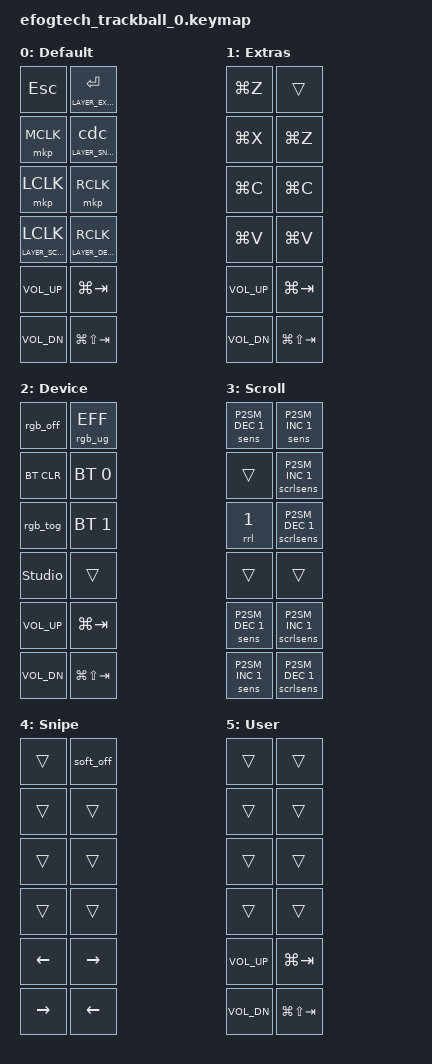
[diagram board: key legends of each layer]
#include <behaviors.dtsi>
#include <dt-bindings/zmk/bt.h>
#include <dt-bindings/zmk/keys.h>
#include <dt-bindings/zmk/pointing.h>
#include <dt-bindings/zmk/outputs.h>
#include <dt-bindings/zmk/p2sm.h>
#include <dt-bindings/zmk/rgb.h>
#include <dt-bindings/zmk/ext_power.h>

#define LAYER_DEFAULT      0
#define LAYER_EXTRAS       1
#define LAYER_DEVICE       2
#define LAYER_SCROLL       3
#define LAYER_SNIPE        4
#define LAYER_USER         5

#define TWIST_MULTIPLIER   (-1)
#define TWIST_DIVISOR      8

#define SCROLL_MULTIPLIER  1
#define SCROLL_DIVISOR     10

#define SNIPE_MULTIPLIER   1
#define SNIPE_DIVISOR      4

/ {
    keymap {
        compatible = "zmk,keymap";

        default_layer {
            display-name = "Default";
            DECLARE_ENCODERS;
            bindings = <
              // buttons
              &kp  ESC                  &ltmkp LAYER_EXTRAS ENTER
              &mkp MCLK                 &cdch LAYER_SNIPE 0
              &mkp LCLK                 &mkp RCLK
              &ltm LAYER_SCROLL LCLK    &ltm LAYER_DEVICE RCLK
              // rotary encoders
              &kp C_VOL_UP              &kp LG(TAB)
              &kp C_VOL_DN              &kp LG(LS(TAB))
            >;
        };

        layer2 {
            display-name = "Extras";
            DECLARE_ENCODERS;
            bindings = <
              &kp LG(Z)     &trans
              &kp LG(X)     &kp LG(Z)
              &kp LG(C)     &kp LG(C)
              &kp LG(V)     &kp LG(V)

              &kp C_VOL_UP  &kp LG(TAB)
              &kp C_VOL_DN  &kp LG(LS(TAB))
            >;
        };

        layer3 {
            display-name = "Device";
            DECLARE_ENCODERS;
            bindings = <
              &rgb_off        &rgb_ug RGB_EFF
              &bt BT_CLR      &bt BT_SEL 0
              &rgb_tog        &bt BT_SEL 1
              &studio_unlock  &trans

              &kp C_VOL_UP    &kp LG(TAB)
              &kp C_VOL_DN    &kp LG(LS(TAB))
            >;
        };

        layer4 {
            display-name = "Scroll";
            DECLARE_ENCODERS;
            bindings = <
              &sens P2SM_DEC 1  &sens P2SM_INC 1
              &trans            &scrlsens P2SM_INC 1
              &rrl 1            &scrlsens P2SM_DEC 1
              &trans            &trans

              &sens P2SM_DEC 1  &scrlsens P2SM_INC 1
              &sens P2SM_INC 1  &scrlsens P2SM_DEC 1
            >;
        };

        layer5 {
            display-name = "Snipe";
            DECLARE_ENCODERS;
            bindings = <
              &trans     &soft_off
              &trans     &trans
              &trans     &trans
              &trans     &trans

              &kp LEFT   &kp RIGHT
              &kp RIGHT  &kp LEFT
            >;
        };

        layer6 {
            display-name = "User";
            DECLARE_ENCODERS;
            bindings = <
              &trans        &trans
              &trans        &trans
              &trans        &trans
              &trans        &trans

              &kp C_VOL_UP  &kp LG(TAB)
              &kp C_VOL_DN  &kp LG(LS(TAB))
            >;
        };
    };

    behaviors {
        cdch: click-double-click-hold {
            compatible = "zmk,behavior-hold-tap";
            display-name = "Copy/paste/layer (click/double-click/hold)";
            #binding-cells = <2>;
            flavor = "tap-preferred";
            tapping-term-ms = <325>;
            bindings = <&mo>, <&cdc>;
        };

        cdc: click-double-click {
            compatible = "zmk,behavior-tap-dance";
            display-name = "Copy/paste (click/double-click)";
            #binding-cells = <0>;
            tapping-term-ms = <300>;
            bindings = <&kp LG(C)>, <&kp LG(V)>;
        };
    };

    trackball {
        input-processors = <&zip_scroll_scaler TWIST_MULTIPLIER TWIST_DIVISOR>,
                           <&zip_pointer_accel>, <&zip_scroll_accel>,
                           <&zip_rotate_pointer>, <&zip_rotate_scroll>,
                           <&zip_ble_report_rate_limit>;

        scroll {
            layers = <LAYER_SCROLL>;
            input-processors = <&zip_xy_scaler SCROLL_MULTIPLIER SCROLL_DIVISOR>, <&zip_axis_clamper>,
                               <&zip_xy_to_scroll_mapper>, <&zip_scroll_transform INPUT_TRANSFORM_Y_INVERT>,
                               <&zip_rotate_scroll>, <&zip_scroll_accel>, <&zip_ble_report_rate_limit>;
        };

        snipe {
            layers = <LAYER_SNIPE>;
            input-processors = <&zip_xy_scaler SNIPE_MULTIPLIER SNIPE_DIVISOR>,
                               <&zip_rotate_pointer>, <&zip_rotate_scroll>, <&zip_ble_report_rate_limit>;
        };
    };

    macros {
        rgb_tog: rgb_tog {
            compatible = "zmk,behavior-macro";
            display-name = "Toggle RGB";
            #binding-cells = <0>;
            wait-ms = <20>;
            bindings
            = <&rgb_ug RGB_TOG>
            , <&ext_power EP_TOG>
            ;
        };

        rgb_off: rgb_off {
            compatible = "zmk,behavior-macro";
            display-name = "RGB off";
            #binding-cells = <0>;
            wait-ms = <20>;
            bindings
            = <&ext_power EP_OFF>
            , <&rgb_ug RGB_OFF>
            ;
        };
    };
};
